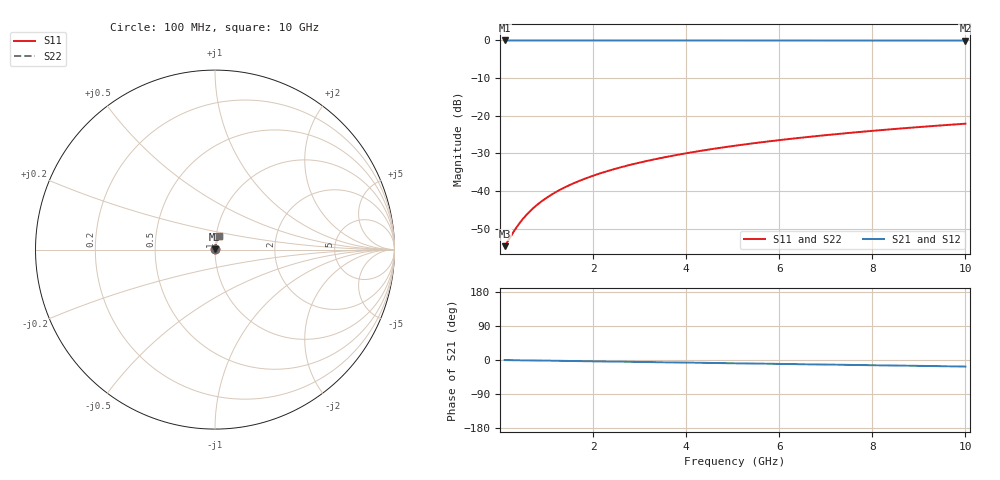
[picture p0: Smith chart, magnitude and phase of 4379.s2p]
# Hz S RI R 50.00
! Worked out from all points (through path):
!   100 points, 100 MHz to 10 GHz, reference 50 ohm
!   highest |S21| = -0.01 dB at 100 MHz (marker M1); lowest = 0.0 dB at 10 GHz (marker M2)
!   group delay of S21, straight-line fit = 4.78 ps
!   lowest |S11| = -54.7 dB at 100 MHz (marker M3), VSWR 1.00, Z = 50.2 + j0.0791 ohm
!   |S11| at or under -10 dB: start of sweep to end of sweep
!   |S22| runs from -54.7 to -22.1 dB; largest |S21 - S12| = 0
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1e8  0.00167 0.000788  0.9983 -0.00299  0.9983 -0.00299  0.00167 0.000788
3e8  0.00171 0.00236  0.9983 -0.00897  0.9983 -0.00897  0.00171 0.00236
4e8  0.00173 0.00315  0.9982 -0.012  0.9982 -0.012  0.00173 0.00315
5e8  0.00176 0.00394  0.9982 -0.0149  0.9982 -0.0149  0.00176 0.00394
6e8  0.00179 0.00473  0.9981 -0.0179  0.9981 -0.0179  0.00179 0.00473
7e8  0.00182 0.00551  0.998 -0.0209  0.998 -0.0209  0.00182 0.00551
8e8  0.00186 0.0063  0.998 -0.0239  0.998 -0.0239  0.00186 0.0063
1e9  0.00195 0.00787  0.9978 -0.0299  0.9978 -0.0299  0.00195 0.00787
1.2e9  0.00206 0.00944  0.9976 -0.0359  0.9976 -0.0359  0.00206 0.00944
1.5e9  0.00226 0.0118  0.9972 -0.0448  0.9972 -0.0448  0.00226 0.0118
1.8e9  0.0025 0.0142  0.9967 -0.0538  0.9967 -0.0538  0.0025 0.0142
2.1e9  0.00278 0.0165  0.9961 -0.0627  0.9961 -0.0627  0.00278 0.0165
2.5e9  0.00322 0.0196  0.9952 -0.0747  0.9952 -0.0747  0.00322 0.0196
2.9e9  0.00373 0.0227  0.9942 -0.0866  0.9942 -0.0866  0.00373 0.0227
3.4e9  0.00448 0.0266  0.9926 -0.1015  0.9926 -0.1015  0.00448 0.0266
4.2e9  0.00591 0.0327  0.9897 -0.1253  0.9897 -0.1253  0.00591 0.0327
5.1e9  0.00787 0.0395  0.9857 -0.1519  0.9857 -0.1519  0.00787 0.0395
5.9e9  0.00993 0.0455  0.9814 -0.1755  0.9814 -0.1755  0.00993 0.0455
6.7e9  0.0123 0.0514  0.9766 -0.1991  0.9766 -0.1991  0.0123 0.0514
7.5e9  0.0149 0.0571  0.9712 -0.2224  0.9712 -0.2224  0.0149 0.0571
8.4e9  0.0182 0.0634  0.9643 -0.2486  0.9643 -0.2486  0.0182 0.0634
1e10  0.0249 0.0743  0.9503 -0.2946  0.9503 -0.2946  0.0249 0.0743
